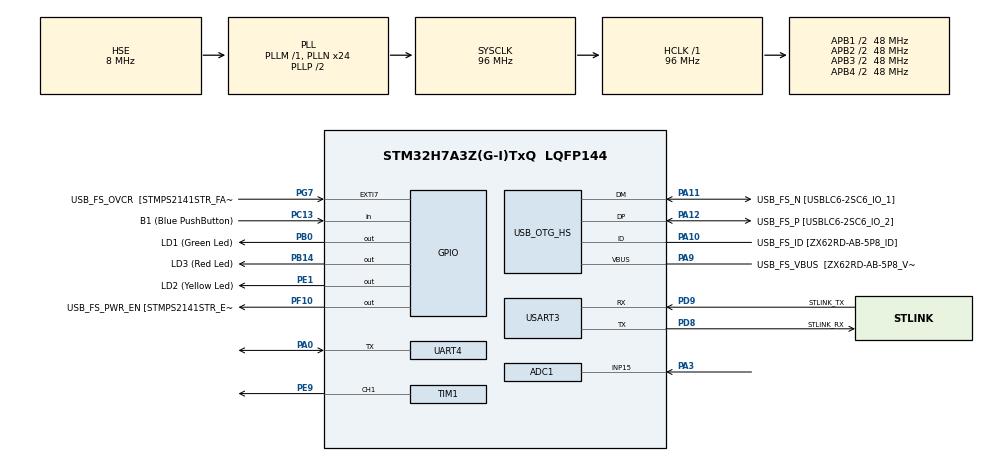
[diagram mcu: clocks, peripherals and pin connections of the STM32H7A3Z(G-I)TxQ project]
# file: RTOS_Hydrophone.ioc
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ADC1.Channel-3\#ChannelRegularConversion=ADC_CHANNEL_15
ADC1.ConversionDataManagement=ADC_CONVERSIONDATA_DMA_ONESHOT
ADC1.ExternalTrigConv=ADC_EXTERNALTRIG_T1_TRGO
ADC1.ExternalTrigConvEdge=ADC_EXTERNALTRIGCONVEDGE_RISINGFALLING
ADC1.NbrOfConversionFlag=1
ADC1.OffsetNumber-3\#ChannelRegularConversion=ADC_OFFSET_NONE
ADC1.OffsetSignedSaturation-3\#ChannelRegularConversion=DISABLE
ADC1.Rank-3\#ChannelRegularConversion=1
ADC1.SamplingTime-3\#ChannelRegularConversion=ADC_SAMPLETIME_1CYCLE_5
ADC1.master=1
Dma.ADC1.0.Direction=DMA_PERIPH_TO_MEMORY
Dma.ADC1.0.EventEnable=DISABLE
Dma.ADC1.0.FIFOMode=DMA_FIFOMODE_DISABLE
Dma.ADC1.0.Instance=DMA1_Stream0
Dma.ADC1.0.MemDataAlignment=DMA_MDATAALIGN_WORD
Dma.ADC1.0.MemInc=DMA_MINC_ENABLE
Dma.ADC1.0.Mode=DMA_NORMAL
Dma.ADC1.0.PeriphDataAlignment=DMA_PDATAALIGN_WORD
Dma.ADC1.0.PeriphInc=DMA_PINC_DISABLE
Dma.ADC1.0.Polarity=HAL_DMAMUX_REQ_GEN_RISING
Dma.ADC1.0.Priority=DMA_PRIORITY_LOW
Dma.ADC1.0.RequestNumber=1
Dma.ADC1.0.SignalID=NONE
Dma.ADC1.0.SyncEnable=DISABLE
Dma.ADC1.0.SyncPolarity=HAL_DMAMUX_SYNC_NO_EVENT
Dma.ADC1.0.SyncRequestNumber=1
Dma.ADC1.0.SyncSignalID=NONE
Dma.Request0=ADC1
FREERTOS.BinarySemaphores01=AudioCapSem01,Dynamic,NULL;FFTSem02,Dynamic,NULL;SendDataSem03,Dynamic,NULL;ADC_Buffer0Sem04,Dynamic,NULL;ADC_Buffer1Sem05,Dynamic,NULL
FREERTOS.Tasks01=defaultTask,8,128,StartDefaultTask,Default,NULL,Dynamic,NULL,NULL;AudioCapTask,24,128,StartAudioCapTask,Default,NULL,Dynamic,NULL,NULL;FFTTask,40,128,StartFFTTask,Default,NULL,Dynamic,NULL,NULL;SendDataTask,41,256,StartSendDataTask,Default,NULL,Dynamic,NULL,NULL
Mcu.Family=STM32H7
Mcu.Name=STM32H7A3Z(G-I)TxQ
Mcu.Package=LQFP144
NVIC.DMA1_Stream0_IRQn=true\:5\:0\:false\:false\:true\:true\:false\:true\:true
NVIC.PriorityGroup=NVIC_PRIORITYGROUP_4
NVIC.TIM2_IRQn=true\:15\:0\:false\:false\:true\:false\:false\:true\:true
NVIC.TimeBase=TIM2_IRQn
NVIC.TimeBaseIP=TIM2
PA0.Mode=Half_duplex(single_wire_mode)
PA0.Signal=UART4_TX
PA10.GPIO_Label=USB_FS_ID [ZX62RD-AB-5P8_ID]
PA10.Mode=OTG/Dual-Role-Device-FS
PA10.Signal=USB_OTG_HS_ID
PA11.GPIO_Label=USB_FS_N [USBLC6-2SC6_IO_1]
PA11.Mode=OTG/Dual-Role-Device-FS
PA11.Signal=USB_OTG_HS_DM
PA12.GPIO_Label=USB_FS_P [USBLC6-2SC6_IO_2]
PA12.Mode=OTG/Dual-Role-Device-FS
PA12.Signal=USB_OTG_HS_DP
PA3.Mode=IN15-Single-Ended
PA3.Signal=ADC1_INP15
PA9.GPIO_Label=USB_FS_VBUS  [ZX62RD-AB-5P8_VBUS]
PA9.Mode=Activate_VBUS_FS
PA9.Signal=USB_OTG_HS_VBUS
PB0.GPIO_Label=LD1 (Green Led)
PB0.Signal=GPIO_Output
PB14.GPIO_Label=LD3 (Red Led)
PB14.Signal=GPIO_Output
PC13.GPIO_Label=B1 (Blue PushButton)
PC13.Signal=GPIO_Input
PC14-OSC32_IN.GPIO_Label=OSC32_IN
PC14-OSC32_IN.Mode=LSE-External-Oscillator
PC14-OSC32_IN.Signal=RCC_OSC32_IN
PC15-OSC32_OUT.GPIO_Label=OSC32_OUT
PC15-OSC32_OUT.Mode=LSE-External-Oscillator
PC15-OSC32_OUT.Signal=RCC_OSC32_OUT
PD8.GPIO_Label=STLINK_RX
PD8.Mode=Asynchronous
PD8.Signal=USART3_TX
PD9.GPIO_Label=STLINK_TX
PD9.Mode=Asynchronous
PD9.Signal=USART3_RX
PE1.GPIO_Label=LD2 (Yellow Led)
PE1.Signal=GPIO_Output
PE9.Signal=S_TIM1_CH1
PF10.GPIO_Label=USB_FS_PWR_EN [STMPS2141STR_EN]
PF10.Signal=GPIO_Output
PG7.GPIO_Label=USB_FS_OVCR  [STMPS2141STR_FAULT]
PG7.Signal=GPXTI7
PH0-OSC_IN.GPIO_Label=PH0-MCU
PH0-OSC_IN.Mode=HSE-External-Clock-Source
PH0-OSC_IN.Signal=RCC_OSC_IN
PH1-OSC_OUT.GPIO_Label=PH1-MCU
PH1-OSC_OUT.Signal=RCC_OSC_OUT
ProjectManager.HeapSize=0x200
ProjectManager.StackSize=0x400
ProjectManager.TargetToolchain=STM32CubeIDE
RCC.ADCFreq_Value=42666666.666666664
RCC.APB1Freq_Value=48000000
RCC.APB2Freq_Value=48000000
RCC.APB3Freq_Value=48000000
RCC.APB4Freq_Value=48000000
RCC.CDPPRE=RCC_APB3_DIV2
RCC.CDPPRE1=RCC_APB1_DIV2
RCC.CDPPRE2=RCC_APB2_DIV2
RCC.CortexFreq_Value=96000000
RCC.DIVM1=1
RCC.DIVM2=1
RCC.DIVM3=1
RCC.DIVN1=24
RCC.DIVN2=16
RCC.DIVN3=24
RCC.DIVP2=3
RCC.DIVQ1=4
RCC.HCLKFreq_Value=96000000
RCC.HSE_VALUE=8000000
RCC.PLL2FRACN=0
RCC.PLLFRACN=0
RCC.PLLSourceVirtual=RCC_PLLSOURCE_HSE
RCC.PWR_Regulator_Voltage_Scale=PWR_REGULATOR_VOLTAGE_SCALE0
RCC.SRDPPRE=RCC_APB4_DIV2
RCC.SYSCLKFreq_VALUE=96000000
RCC.SYSCLKSource=RCC_SYSCLKSOURCE_PLLCLK
RCC.SupplySource=PWR_DIRECT_SMPS_SUPPLY
RCC.USBCLockSelection=RCC_USBCLKSOURCE_HSI48
RCC.USBFreq_Value=48000000
SH.S_TIM1_CH1.0=TIM1_CH1,Output Compare1 CH1
TIM1.Channel-Output\ Compare1\ CH1=TIM_CHANNEL_1
TIM1.OCMode_1=TIM_OCMODE_TOGGLE
TIM1.Period=6000-1
TIM1.TIM_MasterOutputTrigger=TIM_TRGO_UPDATE
UART4.BaudRate=430000
USART3.VirtualMode-Asynchronous=VM_ASYNC
VP_FREERTOS_VS_CMSIS_V2.Mode=CMSIS_V2
VP_SYS_VS_tim2.Mode=TIM2
VP_TIM1_VS_ClockSourceINT.Mode=Internal
board=NUCLEO-H7A3ZI-Q

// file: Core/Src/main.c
/* USER CODE BEGIN Header */
/**
  ******************************************************************************
  * @file           : main.c
  * @brief          : Main program body
  ******************************************************************************
  * @attention
  *
  * Copyright (c) 2023 STMicroelectronics.
  * All rights reserved.
  *
  * This software is licensed under terms that can be found in the LICENSE file
  * in the root directory of this software component.
  * If no LICENSE file comes with this software, it is provided AS-IS.
  *
  ******************************************************************************
  */
/* USER CODE END Header */
#include "main.h"
#include "cmsis_os.h"

/* USER CODE BEGIN Includes */
#include <string.h>
#include <stdio.h>
#include <stdbool.h>
#include "arm_math.h"
#include "arm_const_structs.h"
#include "semphr.h"
/* USER CODE END Includes */

/* USER CODE BEGIN PD */

//#define SEND_BUFFER_SIZE 245760/8//
// FFT defines
#define REAL_FFT_SIZE 4096
#define FFT_SIZE (REAL_FFT_SIZE/2)

// Low-pass filter parameters
#define SAMPLE_RATE 8000 // Sample rate in Hz
#define CUTOFF_FREQ 8000  // Cutoff frequency in Hz

// ADC Defines
#define ADC_BUFFER_SIZE 4096

//Transmit Defines
#define TRANSMIT_BUFFER_SIZE ADC_BUFFER_SIZE
#define ESCAPE_CHAR 0xFFFF
#define START_CHAR 0xFFEE
#define END_CHAR 0xFFFE

/* USER CODE END PD */

ADC_HandleTypeDef hadc1;
DMA_HandleTypeDef hdma_adc1;

TIM_HandleTypeDef htim1;

UART_HandleTypeDef huart4;
UART_HandleTypeDef huart3;

/* Definitions for defaultTask */
osThreadId_t defaultTaskHandle;
const osThreadAttr_t defaultTask_attributes = {
  .name = "defaultTask",
  .stack_size = 128 * 4,
  .priority = (osPriority_t) osPriorityLow,
};
/* Definitions for AudioCapTask */
osThreadId_t AudioCapTaskHandle;
const osThreadAttr_t AudioCapTask_attributes = {
  .name = "AudioCapTask",
  .stack_size = 128 * 4,
  .priority = (osPriority_t) osPriorityNormal,
};
/* Definitions for FFTTask */
osThreadId_t FFTTaskHandle;
const osThreadAttr_t FFTTask_attributes = {
  .name = "FFTTask",
  .stack_size = 128 * 4,
  .priority = (osPriority_t) osPriorityHigh,
};
/* Definitions for SendDataTask */
osThreadId_t SendDataTaskHandle;
const osThreadAttr_t SendDataTask_attributes = {
  .name = "SendDataTask",
  .stack_size = 256 * 4,
  .priority = (osPriority_t) osPriorityHigh1,
};
/* Definitions for AudioCapSem01 */
osSemaphoreId_t AudioCapSem01Handle;
const osSemaphoreAttr_t AudioCapSem01_attributes = {
  .name = "AudioCapSem01"
};
/* Definitions for FFTSem02 */
osSemaphoreId_t FFTSem02Handle;
const osSemaphoreAttr_t FFTSem02_attributes = {
  .name = "FFTSem02"
};
/* Definitions for SendDataSem03 */
osSemaphoreId_t SendDataSem03Handle;
const osSemaphoreAttr_t SendDataSem03_attributes = {
  .name = "SendDataSem03"
};
/* Definitions for ADC_Buffer0Sem04 */
osSemaphoreId_t ADC_Buffer0Sem04Handle;
const osSemaphoreAttr_t ADC_Buffer0Sem04_attributes = {
  .name = "ADC_Buffer0Sem04"
};
/* Definitions for ADC_Buffer1Sem05 */
osSemaphoreId_t ADC_Buffer1Sem05Handle;
const osSemaphoreAttr_t ADC_Buffer1Sem05_attributes = {
  .name = "ADC_Buffer1Sem05"
};
/* USER CODE BEGIN PV */

// Variables for ADC Conversion
uint32_t adc_buffer[ADC_BUFFER_SIZE];
float32_t adc_buffer_float[ADC_BUFFER_SIZE];
uint32_t adc_buffer_0[ADC_BUFFER_SIZE];
uint32_t adc_buffer_1[ADC_BUFFER_SIZE];
bool recording_mode = false;
bool flag_value, transfer_complete;

// Variables for FFT
//uint32_t fft_real_length = 4096;			      // Value for FFT initialization
float32_t fft_buffer[REAL_FFT_SIZE];          //fft_buffer be twice as large to account for complex values per sample
float32_t bin[FFT_SIZE];				              // Array of bin values
uint32_t bin_int[FFT_SIZE];				            // Array of bin integer values
int bin_point = 0;						                // Used to point to element in array
int offset = 165; 						                //variable noisefloor offset
uint32_t expected_bin = 511, testIndex = 0;		// Expected Bin value of frequency Input and index comparator
float32_t maxValue;						                // Maximum Magnitude found in bin array
uint32_t maxIndex = 0;					              // Index location of maximum magnitude
uint32_t ifftFlag = 0;					              // 0 for FFT, 1 for inverse FFT
uint32_t doBitReverse = 1;				            // Bit reversal parameter
bool frequency_detected = false;

// Variables for sending data
int counter = 0; // Counter for counting how many times we send 1.875 seconds worth of data

//local global buffer for copy of every other sample from the ADC
volatile int32_t adc_buffer_copy[ADC_BUFFER_SIZE];

// create global buffer to hold transmit data
volatile uint8_t transmit_buffer[TRANSMIT_BUFFER_SIZE];

/* USER CODE END PV */

void SystemClock_Config(void);
static void MX_GPIO_Init(void);
static void MX_DMA_Init(void);
static void MX_USB_OTG_HS_USB_Init(void);
static void MX_ADC1_Init(void);
static void MX_USART3_UART_Init(void);
static void MX_TIM1_Init(void);
static void MX_UART4_Init(void);
void StartDefaultTask(void *argument);
void StartAudioCapTask(void *argument);
void StartFFTTask(void *argument);
void StartSendDataTask(void *argument);

/* USER CODE BEGIN PFP */

bool FrequencyDetected(float32_t data[REAL_FFT_SIZE]);
float32_t Magnitude(float32_t real, float32_t compl);
void low_pass_filter(float32_t* input, float32_t* output, uint32_t num_samples);

/* USER CODE END PFP */

/* USER CODE BEGIN 0 */
arm_rfft_fast_instance_f32 fft_handler;
/* USER CODE END 0 */

int main(void)
{

  /* MCU Configuration--------------------------------------------------------*/

  /* Reset of all peripherals, Initializes the Flash interface and the Systick. */
  HAL_Init();

  /* Configure the system clock */
  SystemClock_Config();

  /* Initialize all configured peripherals */
  MX_GPIO_Init();
  MX_DMA_Init();
  MX_USB_OTG_HS_USB_Init();
  MX_ADC1_Init();
  MX_USART3_UART_Init();
  MX_TIM1_Init();
  MX_UART4_Init();
  /* USER CODE BEGIN 2 */

  HAL_TIM_Base_Start(&htim1);
  HAL_TIM_OC_Start(&htim1, TIM_CHANNEL_1);

  //float32_t maxValue;

  // Initialize RFFT
  arm_rfft_fast_init_f32(&fft_handler, REAL_FFT_SIZE);

  /* USER CODE END 2 */

  /* Init scheduler */
  osKernelInitialize();

  /* Create the semaphores(s) */
  /* creation of AudioCapSem01 */
  AudioCapSem01Handle = osSemaphoreNew(1, 1, &AudioCapSem01_attributes);

  /* creation of FFTSem02 */
  FFTSem02Handle = osSemaphoreNew(1, 1, &FFTSem02_attributes);

  /* creation of SendDataSem03 */
  SendDataSem03Handle = osSemaphoreNew(1, 1, &SendDataSem03_attributes);

  /* creation of ADC_Buffer0Sem04 */
  ADC_Buffer0Sem04Handle = osSemaphoreNew(1, 1, &ADC_Buffer0Sem04_attributes);

  /* creation of ADC_Buffer1Sem05 */
  ADC_Buffer1Sem05Handle = osSemaphoreNew(1, 1, &ADC_Buffer1Sem05_attributes);

  /* USER CODE BEGIN RTOS_SEMAPHORES */

  // Initialize Sem values other than AudioCap to 0 before starting code
  osSemaphoreAcquire(FFTSem02Handle, osWaitForever);
  osSemaphoreAcquire(SendDataSem03Handle, osWaitForever);

  /* add semaphores, ... */
  /* USER CODE END RTOS_SEMAPHORES */

  /* Create the thread(s) */
  /* creation of defaultTask */
  defaultTaskHandle = osThreadNew(StartDefaultTask, NULL, &defaultTask_attributes);

  /* creation of AudioCapTask */
  AudioCapTaskHandle = osThreadNew(StartAudioCapTask, NULL, &AudioCapTask_attributes);

  /* creation of FFTTask */
  FFTTaskHandle = osThreadNew(StartFFTTask, NULL, &FFTTask_attributes);

  /* creation of SendDataTask */
  SendDataTaskHandle = osThreadNew(StartSendDataTask, NULL, &SendDataTask_attributes);

  /* Start scheduler */
  osKernelStart();
  /* We should never get here as control is now taken by the scheduler */
  /* Infinite loop */
  while (1)
  {

  }
}

void SystemClock_Config(void)
{
  RCC_OscInitTypeDef RCC_OscInitStruct = {0};
  RCC_ClkInitTypeDef RCC_ClkInitStruct = {0};

  /*AXI clock gating */
  RCC->CKGAENR = 0xFFFFFFFF;

  /** Supply configuration update enable
  */
  HAL_PWREx_ConfigSupply(PWR_DIRECT_SMPS_SUPPLY);

  /** Configure the main internal regulator output voltage
  */
  __HAL_PWR_VOLTAGESCALING_CONFIG(PWR_REGULATOR_VOLTAGE_SCALE0);

  while(!__HAL_PWR_GET_FLAG(PWR_FLAG_VOSRDY)) {}

  /** Initializes the RCC Oscillators according to the specified parameters
  * in the RCC_OscInitTypeDef structure.
  */
  RCC_OscInitStruct.OscillatorType = RCC_OSCILLATORTYPE_HSI48|RCC_OSCILLATORTYPE_HSE;
  RCC_OscInitStruct.HSEState = RCC_HSE_BYPASS;
  RCC_OscInitStruct.HSI48State = RCC_HSI48_ON;
  RCC_OscInitStruct.PLL.PLLState = RCC_PLL_ON;
  RCC_OscInitStruct.PLL.PLLSource = RCC_PLLSOURCE_HSE;
  RCC_OscInitStruct.PLL.PLLM = 1;
  RCC_OscInitStruct.PLL.PLLN = 24;
  RCC_OscInitStruct.PLL.PLLP = 2;
  RCC_OscInitStruct.PLL.PLLQ = 4;
  RCC_OscInitStruct.PLL.PLLR = 2;
  RCC_OscInitStruct.PLL.PLLRGE = RCC_PLL1VCIRANGE_3;
  RCC_OscInitStruct.PLL.PLLVCOSEL = RCC_PLL1VCOWIDE;
  RCC_OscInitStruct.PLL.PLLFRACN = 0;
  if (HAL_RCC_OscConfig(&RCC_OscInitStruct) != HAL_OK)
  {
    Error_Handler();
  }

  /** Initializes the CPU, AHB and APB buses clocks
  */
  RCC_ClkInitStruct.ClockType = RCC_CLOCKTYPE_HCLK|RCC_CLOCKTYPE_SYSCLK
                              |RCC_CLOCKTYPE_PCLK1|RCC_CLOCKTYPE_PCLK2
                              |RCC_CLOCKTYPE_D3PCLK1|RCC_CLOCKTYPE_D1PCLK1;
  RCC_ClkInitStruct.SYSCLKSource = RCC_SYSCLKSOURCE_PLLCLK;
  RCC_ClkInitStruct.SYSCLKDivider = RCC_SYSCLK_DIV1;
  RCC_ClkInitStruct.AHBCLKDivider = RCC_HCLK_DIV1;
  RCC_ClkInitStruct.APB3CLKDivider = RCC_APB3_DIV2;
  RCC_ClkInitStruct.APB1CLKDivider = RCC_APB1_DIV2;
  RCC_ClkInitStruct.APB2CLKDivider = RCC_APB2_DIV2;
  RCC_ClkInitStruct.APB4CLKDivider = RCC_APB4_DIV2;

  if (HAL_RCC_ClockConfig(&RCC_ClkInitStruct, FLASH_LATENCY_2) != HAL_OK)
  {
    Error_Handler();
  }
}

static void MX_ADC1_Init(void)
{

  ADC_MultiModeTypeDef multimode = {0};
  ADC_ChannelConfTypeDef sConfig = {0};

  /** Common config
  */
  hadc1.Instance = ADC1;
  hadc1.Init.ClockPrescaler = ADC_CLOCK_ASYNC_DIV1;
  hadc1.Init.Resolution = ADC_RESOLUTION_16B;
  hadc1.Init.ScanConvMode = ADC_SCAN_DISABLE;
  hadc1.Init.EOCSelection = ADC_EOC_SINGLE_CONV;
  hadc1.Init.LowPowerAutoWait = DISABLE;
  hadc1.Init.ContinuousConvMode = DISABLE;
  hadc1.Init.NbrOfConversion = 1;
  hadc1.Init.DiscontinuousConvMode = DISABLE;
  hadc1.Init.ExternalTrigConv = ADC_EXTERNALTRIG_T1_TRGO;
  hadc1.Init.ExternalTrigConvEdge = ADC_EXTERNALTRIGCONVEDGE_RISINGFALLING;
  hadc1.Init.ConversionDataManagement = ADC_CONVERSIONDATA_DMA_ONESHOT;
  hadc1.Init.Overrun = ADC_OVR_DATA_PRESERVED;
  hadc1.Init.LeftBitShift = ADC_LEFTBITSHIFT_NONE;
  hadc1.Init.OversamplingMode = DISABLE;
  if (HAL_ADC_Init(&hadc1) != HAL_OK)
  {
    Error_Handler();
  }

  /** Configure the ADC multi-mode
  */
  multimode.Mode = ADC_MODE_INDEPENDENT;
  if (HAL_ADCEx_MultiModeConfigChannel(&hadc1, &multimode) != HAL_OK)
  {
    Error_Handler();
  }

  /** Configure Regular Channel
  */
  sConfig.Channel = ADC_CHANNEL_15;
  sConfig.Rank = ADC_REGULAR_RANK_1;
  sConfig.SamplingTime = ADC_SAMPLETIME_1CYCLE_5;
  sConfig.SingleDiff = ADC_SINGLE_ENDED;
  sConfig.OffsetNumber = ADC_OFFSET_NONE;
  sConfig.Offset = 0;
  sConfig.OffsetSignedSaturation = DISABLE;
  if (HAL_ADC_ConfigChannel(&hadc1, &sConfig) != HAL_OK)
  {
    Error_Handler();
  }

}

static void MX_TIM1_Init(void)
{

  TIM_ClockConfigTypeDef sClockSourceConfig = {0};
  TIM_MasterConfigTypeDef sMasterConfig = {0};
  TIM_OC_InitTypeDef sConfigOC = {0};
  TIM_BreakDeadTimeConfigTypeDef sBreakDeadTimeConfig = {0};

  htim1.Instance = TIM1;
  htim1.Init.Prescaler = 0;
  htim1.Init.CounterMode = TIM_COUNTERMODE_UP;
  htim1.Init.Period = 6000-1;
  htim1.Init.ClockDivision = TIM_CLOCKDIVISION_DIV1;
  htim1.Init.RepetitionCounter = 0;
  htim1.Init.AutoReloadPreload = TIM_AUTORELOAD_PRELOAD_DISABLE;
  if (HAL_TIM_Base_Init(&htim1) != HAL_OK)
  {
    Error_Handler();
  }
  sClockSourceConfig.ClockSource = TIM_CLOCKSOURCE_INTERNAL;
  if (HAL_TIM_ConfigClockSource(&htim1, &sClockSourceConfig) != HAL_OK)
  {
    Error_Handler();
  }
  if (HAL_TIM_OC_Init(&htim1) != HAL_OK)
  {
    Error_Handler();
  }
  sMasterConfig.MasterOutputTrigger = TIM_TRGO_UPDATE;
  sMasterConfig.MasterOutputTrigger2 = TIM_TRGO2_RESET;
  sMasterConfig.MasterSlaveMode = TIM_MASTERSLAVEMODE_DISABLE;
  if (HAL_TIMEx_MasterConfigSynchronization(&htim1, &sMasterConfig) != HAL_OK)
  {
    Error_Handler();
  }
  sConfigOC.OCMode = TIM_OCMODE_TOGGLE;
  sConfigOC.Pulse = 0;
  sConfigOC.OCPolarity = TIM_OCPOLARITY_HIGH;
  sConfigOC.OCNPolarity = TIM_OCNPOLARITY_HIGH;
  sConfigOC.OCFastMode = TIM_OCFAST_DISABLE;
  sConfigOC.OCIdleState = TIM_OCIDLESTATE_RESET;
  sConfigOC.OCNIdleState = TIM_OCNIDLESTATE_RESET;
  if (HAL_TIM_OC_ConfigChannel(&htim1, &sConfigOC, TIM_CHANNEL_1) != HAL_OK)
  {
    Error_Handler();
  }
  sBreakDeadTimeConfig.OffStateRunMode = TIM_OSSR_DISABLE;
  sBreakDeadTimeConfig.OffStateIDLEMode = TIM_OSSI_DISABLE;
  sBreakDeadTimeConfig.LockLevel = TIM_LOCKLEVEL_OFF;
  sBreakDeadTimeConfig.DeadTime = 0;
  sBreakDeadTimeConfig.BreakState = TIM_BREAK_DISABLE;
  sBreakDeadTimeConfig.BreakPolarity = TIM_BREAKPOLARITY_HIGH;
  sBreakDeadTimeConfig.BreakFilter = 0;
  sBreakDeadTimeConfig.Break2State = TIM_BREAK2_DISABLE;
  sBreakDeadTimeConfig.Break2Polarity = TIM_BREAK2POLARITY_HIGH;
  sBreakDeadTimeConfig.Break2Filter = 0;
  sBreakDeadTimeConfig.AutomaticOutput = TIM_AUTOMATICOUTPUT_DISABLE;
  if (HAL_TIMEx_ConfigBreakDeadTime(&htim1, &sBreakDeadTimeConfig) != HAL_OK)
  {
    Error_Handler();
  }
  HAL_TIM_MspPostInit(&htim1);

}

static void MX_UART4_Init(void)
{

  huart4.Instance = UART4;
  huart4.Init.BaudRate = 430000;
  huart4.Init.WordLength = UART_WORDLENGTH_8B;
  huart4.Init.StopBits = UART_STOPBITS_1;
  huart4.Init.Parity = UART_PARITY_NONE;
  huart4.Init.Mode = UART_MODE_TX_RX;
  huart4.Init.HwFlowCtl = UART_HWCONTROL_NONE;
  huart4.Init.OverSampling = UART_OVERSAMPLING_16;
  huart4.Init.OneBitSampling = UART_ONE_BIT_SAMPLE_DISABLE;
  huart4.Init.ClockPrescaler = UART_PRESCALER_DIV1;
  huart4.AdvancedInit.AdvFeatureInit = UART_ADVFEATURE_NO_INIT;
  if (HAL_HalfDuplex_Init(&huart4) != HAL_OK)
  {
    Error_Handler();
  }
  if (HAL_UARTEx_SetTxFifoThreshold(&huart4, UART_TXFIFO_THRESHOLD_1_8) != HAL_OK)
  {
    Error_Handler();
  }
  if (HAL_UARTEx_SetRxFifoThreshold(&huart4, UART_RXFIFO_THRESHOLD_1_8) != HAL_OK)
  {
    Error_Handler();
  }
  if (HAL_UARTEx_DisableFifoMode(&huart4) != HAL_OK)
  {
    Error_Handler();
  }

}

static void MX_USART3_UART_Init(void)
{

  huart3.Instance = USART3;
  huart3.Init.BaudRate = 115200;
  huart3.Init.WordLength = UART_WORDLENGTH_8B;
  huart3.Init.StopBits = UART_STOPBITS_1;
  huart3.Init.Parity = UART_PARITY_NONE;
  huart3.Init.Mode = UART_MODE_TX_RX;
  huart3.Init.HwFlowCtl = UART_HWCONTROL_NONE;
  huart3.Init.OverSampling = UART_OVERSAMPLING_16;
  huart3.Init.OneBitSampling = UART_ONE_BIT_SAMPLE_DISABLE;
  huart3.Init.ClockPrescaler = UART_PRESCALER_DIV1;
  huart3.AdvancedInit.AdvFeatureInit = UART_ADVFEATURE_NO_INIT;
  if (HAL_UART_Init(&huart3) != HAL_OK)
  {
    Error_Handler();
  }
  if (HAL_UARTEx_SetTxFifoThreshold(&huart3, UART_TXFIFO_THRESHOLD_1_8) != HAL_OK)
  {
    Error_Handler();
  }
  if (HAL_UARTEx_SetRxFifoThreshold(&huart3, UART_RXFIFO_THRESHOLD_1_8) != HAL_OK)
  {
    Error_Handler();
  }
  if (HAL_UARTEx_DisableFifoMode(&huart3) != HAL_OK)
  {
    Error_Handler();
  }

}

static void MX_USB_OTG_HS_USB_Init(void)
{

}

static void MX_DMA_Init(void)
{

  /* DMA controller clock enable */
  __HAL_RCC_DMA1_CLK_ENABLE();

  /* DMA interrupt init */
  /* DMA1_Stream0_IRQn interrupt configuration */
  HAL_NVIC_SetPriority(DMA1_Stream0_IRQn, 5, 0);
  HAL_NVIC_EnableIRQ(DMA1_Stream0_IRQn);

}

static void MX_GPIO_Init(void)
{
  GPIO_InitTypeDef GPIO_InitStruct = {0};

  /* GPIO Ports Clock Enable */
  __HAL_RCC_GPIOC_CLK_ENABLE();
  __HAL_RCC_GPIOF_CLK_ENABLE();
  __HAL_RCC_GPIOH_CLK_ENABLE();
  __HAL_RCC_GPIOA_CLK_ENABLE();
  __HAL_RCC_GPIOB_CLK_ENABLE();
  __HAL_RCC_GPIOE_CLK_ENABLE();
  __HAL_RCC_GPIOD_CLK_ENABLE();
  __HAL_RCC_GPIOG_CLK_ENABLE();

  /*Configure GPIO pin Output Level */
  HAL_GPIO_WritePin(USB_FS_PWR_EN_GPIO_Port, USB_FS_PWR_EN_Pin, GPIO_PIN_RESET);

  /*Configure GPIO pin Output Level */
  HAL_GPIO_WritePin(GPIOB, LD1_Pin|LD3_Pin, GPIO_PIN_RESET);

  /*Configure GPIO pin Output Level */
  HAL_GPIO_WritePin(LD2_GPIO_Port, LD2_Pin, GPIO_PIN_RESET);

  /*Configure GPIO pin : B1_Pin */
  GPIO_InitStruct.Pin = B1_Pin;
  GPIO_InitStruct.Mode = GPIO_MODE_INPUT;
  GPIO_InitStruct.Pull = GPIO_NOPULL;
  HAL_GPIO_Init(B1_GPIO_Port, &GPIO_InitStruct);

  /*Configure GPIO pin : USB_FS_PWR_EN_Pin */
  GPIO_InitStruct.Pin = USB_FS_PWR_EN_Pin;
  GPIO_InitStruct.Mode = GPIO_MODE_OUTPUT_PP;
  GPIO_InitStruct.Pull = GPIO_NOPULL;
  GPIO_InitStruct.Speed = GPIO_SPEED_FREQ_LOW;
  HAL_GPIO_Init(USB_FS_PWR_EN_GPIO_Port, &GPIO_InitStruct);

  /*Configure GPIO pins : LD1_Pin LD3_Pin */
  GPIO_InitStruct.Pin = LD1_Pin|LD3_Pin;
  GPIO_InitStruct.Mode = GPIO_MODE_OUTPUT_PP;
  GPIO_InitStruct.Pull = GPIO_NOPULL;
  GPIO_InitStruct.Speed = GPIO_SPEED_FREQ_LOW;
  HAL_GPIO_Init(GPIOB, &GPIO_InitStruct);

  /*Configure GPIO pin : USB_FS_OVCR_Pin */
  GPIO_InitStruct.Pin = USB_FS_OVCR_Pin;
  GPIO_InitStruct.Mode = GPIO_MODE_IT_RISING;
  GPIO_InitStruct.Pull = GPIO_NOPULL;
  HAL_GPIO_Init(USB_FS_OVCR_GPIO_Port, &GPIO_InitStruct);

  /*Configure GPIO pin : USB_FS_VBUS_Pin */
  GPIO_InitStruct.Pin = USB_FS_VBUS_Pin;
  GPIO_InitStruct.Mode = GPIO_MODE_INPUT;
  GPIO_InitStruct.Pull = GPIO_NOPULL;
  HAL_GPIO_Init(USB_FS_VBUS_GPIO_Port, &GPIO_InitStruct);

  /*Configure GPIO pin : USB_FS_ID_Pin */
  GPIO_InitStruct.Pin = USB_FS_ID_Pin;
  GPIO_InitStruct.Mode = GPIO_MODE_AF_PP;
  GPIO_InitStruct.Pull = GPIO_NOPULL;
  GPIO_InitStruct.Speed = GPIO_SPEED_FREQ_LOW;
  GPIO_InitStruct.Alternate = GPIO_AF10_OTG1_HS;
  HAL_GPIO_Init(USB_FS_ID_GPIO_Port, &GPIO_InitStruct);

  /*Configure GPIO pins : USB_FS_N_Pin USB_FS_P_Pin */
  GPIO_InitStruct.Pin = USB_FS_N_Pin|USB_FS_P_Pin;
  GPIO_InitStruct.Mode = GPIO_MODE_AF_PP;
  GPIO_InitStruct.Pull = GPIO_NOPULL;
  GPIO_InitStruct.Speed = GPIO_SPEED_FREQ_LOW;
  HAL_GPIO_Init(GPIOA, &GPIO_InitStruct);

  /*Configure GPIO pin : LD2_Pin */
  GPIO_InitStruct.Pin = LD2_Pin;
  GPIO_InitStruct.Mode = GPIO_MODE_OUTPUT_PP;
  GPIO_InitStruct.Pull = GPIO_NOPULL;
  GPIO_InitStruct.Speed = GPIO_SPEED_FREQ_LOW;
  HAL_GPIO_Init(LD2_GPIO_Port, &GPIO_InitStruct);

}

/* USER CODE BEGIN 4 */

/**
 * @brief Function detects frequencies between (0 - 8kHz) and returns boolean
 * @param
 * @retval boolean true or false
 */
bool FrequencyDetected(float32_t data[REAL_FFT_SIZE])
{
	// Process the data through the RFFT module. Will output elements that are Real and Imaginary
	// in fft_bufer as a single array same size as data[].
	//arm_rfft_fast_f32(&fft_handler, (float32_t *) data, fft_buffer, ifftFlag);
	arm_rfft_fast_f32(&fft_handler, adc_buffer_float, fft_buffer, ifftFlag);

	// Reset bin value and offset
	bin_point = 0;

	// Calculate magnitude for each bin using real and Imaginary numbers from fft_buffer output
	 for (int i=0; i< REAL_FFT_SIZE; i=i+2) {

		bin[bin_point] =((Magnitude(fft_buffer[i], fft_buffer[i+1])))-offset;
		// bin[bin_point has chance of rolling back if magnitude is not greater than offset (165)
		// If bin[point_point] rolls back set to 0

		/*
		if ((bin[bin_point] < 0) || (bin[bin_point] > 5000))
		{
			bin[bin_point]=0;
		}
		*/

		bin_point++;

	 }
	// Negate DC value
	bin[0] = 0;

	// Check highest magnitude in bins
	arm_max_f32(bin, FFT_SIZE, &maxValue, &maxIndex);

	// Correct index
	maxIndex += 1;

	bool threshold_crossed = false;

	// Going through bin array, checking if a magnitude crosses threshold of 40
	for(int j=1; j < (FFT_SIZE); j++){

		if(bin[j] >= 40)
		{
			threshold_crossed = true;
			break;
		}
	}

	//HAL_GPIO_WritePin(GPIOC, GPIO_PIN_8, GPIO_PIN_RESET);
	if(threshold_crossed == true)
	{
		   return true;
	}
	// if highest magnitude is at desired bin (wanted frequency) return true
	else if(threshold_crossed == false)
		{
			return false;
		}

	//add return statement
}

/**
 * @brief Returns magnitude of FFT buffer outputs
 * @param Real & Complex elements of FFT output
 * @retval Magnitude at specific frequency
 */
float32_t Magnitude(float32_t real, float32_t compl)
{

	float32_t sqrt_input = (real*real + compl*compl);
	float32_t sqrt_output = 0;
	float32_t magnitude = 0;
	float32_t log_output = 0;

	arm_sqrt_f32(sqrt_input, &sqrt_output);
	log_output = logf(sqrt_output);
	magnitude = 20* (log_output);
	return magnitude;
}
// low_pass_filter(ADC_BUFFER_0, ADC_BUFFER_0, 4096)

void low_pass_filter(float32_t* input, float32_t* output, uint32_t num_samples) {
  float32_t32_t alpha = 2 * PI * CUTOFF_FREQ / SAMPLE_RATE;
  float32_t32_t b0 = (1 - arm_cos_f32(alpha)) / 2;
  float32_t32_t b1 = 1 - arm_cos_f32(alpha);
  float32_t32_t b2 = (1 - arm_cos_f32(alpha)) / 2;
  float32_t32_t a1 = -2 * arm_cos_f32(alpha);
  float32_t32_t a2 = arm_cos_f32(alpha) - 1;

  // Initialize filter state variables
  float32_t32_t x1 = 0, x2 = 0, y1 = 0, y2 = 0;

  // Apply the filter to the input samples
  for (uint32_t i = 0; i < num_samples; i++) {
    output[i] = b0 * input[i] + b1 * x1 + b2 * x2 - a1 * y1 - a2 * y2;
    x2 = x1;
    x1 = input[i];
    y2 = y1;
    y1 = output[i];
  }
}

/**
 * @brief This function executes when adc buffer is full setting flag true
 * @param
 * @retval
 */
void HAL_ADC_ConvCpltCallback(ADC_HandleTypeDef* hadc)
{
	HAL_GPIO_TogglePin(GPIOC, GPIO_PIN_8);
	flag_value = true;			// Set buffer conversion complete flag
	//HAL_ADC_Start_DMA(&hadc1, (uint32_t *)adc_buffer, adc_buff_size);
}

/* USER CODE END 4 */

/* USER CODE BEGIN Header_StartDefaultTask */
/**
  * @brief  Function implementing the defaultTask thread. Toggling Red LED to ensure RTOS operation
  * @param  argument: Not used
  * @retval None
  */
/* USER CODE END Header_StartDefaultTask */
void StartDefaultTask(void *argument)
{
  /* USER CODE BEGIN 5 */
  /* Infinite loop */
  for(;;)
  {
	// Toggling LD3 (red) to see if it ever enters this default state
	//HAL_GPIO_TogglePin(GPIOB, GPIO_PIN_14);
    //osDelay(500); /* Insert delay of 50ms */
  }
  /* USER CODE END 5 */
}

void StartAudioCapTask(void *argument)
{
  /* USER CODE BEGIN StartAudioCapTask */

  //Fill ADC_Buffer1
  HAL_ADC_Start_DMA(&hadc1, adc_buffer_1, ADC_BUFFER_SIZE);

  //wait for it to finish
  while(flag_value != true);
  flag_value = false;

  //set initial adc buffer
  uint32_t adc_buffer_num = 0;

  /* Infinite loop */
  for(;;)
  {

	  //set record mode REMOVE, THIS IS FOR TESTING ONLY
	  //recording_mode = false;

	  //wait for fft or data sending task to complete
	  //osSemaphoreAcquire(AudioCapSem01Handle, osWaitForever);

	  /* Test Pin */
	  // HAL_GPIO_TogglePin(GPIOB, GPIO_PIN_0);
	  // osDelay(500);

	  // Start ADC using alternating buffers
    if(adc_buffer_num == 0) {

      //obtain adc_buffer_0
      osSemaphoreAcquire(ADC_Buffer0Sem04Handle, osWaitForever);

      //set buffer to fill
		  HAL_ADC_Start_DMA(&hadc1, adc_buffer_0, ADC_BUFFER_SIZE);

      //release tasks to process buffer 1
      //check for record mode
      if (recording_mode) {

        // Send the data
        osSemaphoreRelease(SendDataSem03Handle);
      }
      else  {

        // start fft task on adc buffer 1
        osSemaphoreRelease(FFTSem02Handle);
      }

      // Coming back from Send Data do we need to redo initializations?

      //wait for buffer to fill
      while(flag_value != true);
      flag_value = false;

      // Stop ADC
      HAL_ADC_Stop_DMA(&hadc1);

      //release adc_buffer_0
      osSemaphoreRelease(ADC_Buffer0Sem04Handle);

      //switch to other buffer on next loop
      adc_buffer_num = 1;

      //Wait for FFT Task to Finish
    }
    else {

      //obtain adc_buffer_1
      osSemaphoreAcquire(ADC_Buffer1Sem05Handle, osWaitForever);

      //set buffer to fill
		  HAL_ADC_Start_DMA(&hadc1, adc_buffer_1, ADC_BUFFER_SIZE);

      //release tasks to process buffer 0
      //check for record mode
      if (recording_mode) {

        // Send the data
        osSemaphoreRelease(SendDataSem03Handle);
      }
      else  {

        // start fft task on adc buffer 1
        osSemaphoreRelease(FFTSem02Handle);
      }

      // Coming back from Send Data do we need to redo initializations?

      //wait for buffer to fill
      while(flag_value != true);
      flag_value = false;

      // Stop ADC
      HAL_ADC_Stop_DMA(&hadc1);

      //release adc_buffer_1
      osSemaphoreRelease(ADC_Buffer1Sem05Handle);

      //switch to other buffer on next loop
      adc_buffer_num = 0;
    }
  }

  // In case we accidentally exit from task loop
  osThreadTerminate(NULL);
  /* USER CODE END StartAudioCapTask */
}

void StartFFTTask(void *argument)
{
  /* USER CODE BEGIN StartFFTTask */

  uint32_t count0;
  uint32_t count1;
  uint32_t none_acquired;

  /* Infinite loop */
  for(;;)
  {

    // wait for audio cap task to tell this task to start
    osSemaphoreAcquire(FFTSem02Handle, osWaitForever);
    HAL_GPIO_TogglePin(GPIOE, GPIO_PIN_1);
	  //osDelay(500);

    //check which adc buffer is available
    count0 = osSemaphoreGetCount(ADC_Buffer0Sem04Handle);
    count1 = osSemaphoreGetCount(ADC_Buffer1Sem05Handle);
    none_acquired = 0;

    //acquire whichever is available
    if(count0 == 1) {
      osSemaphoreAcquire(ADC_Buffer0Sem04Handle, osWaitForever);

      // Convert samples to float as required by FFT
		  for(int i = 0; i < REAL_FFT_SIZE; i++){
			  adc_buffer_float[i] = adc_buffer_0[i];
		  }

      //release adc buffer
      osSemaphoreRelease(ADC_Buffer0Sem04Handle);

    }
    else if (count1 == 1) {
      osSemaphoreAcquire(ADC_Buffer1Sem05Handle, osWaitForever);

      // Convert samples to float as required by FFT
      for(int i = 0; i < REAL_FFT_SIZE; i++){
			  adc_buffer_float[i] = adc_buffer_1[i];
		  }

      //release adc buffer
      osSemaphoreRelease(ADC_Buffer1Sem05Handle);

    }
    else {
      none_acquired = 1;
    }

    if (!none_acquired) {

      /* Reset frequency_detected bool */
      //frequency_detected = false; //not needed gets reasigned in frequency detected function

      /* Call FFT function that returns true if freqs between 0-8kHz are detected */
      frequency_detected = FrequencyDetected(adc_buffer_float);

      // TODO second frequency detected is redundant
      // if(frequency_detected == true){
      //   // HAL_GPIO_WritePin(GPIOB, GPIO_PIN_14, 1);
      //   // HAL_GPIO_TogglePin(GPIOB, GPIO_PIN_0);
      // }

      if(frequency_detected == true){
        recording_mode = true;
        // release semaphore for record task
      }

      //start audio cap task -- should always be running, get rid of this
      //osSemaphoreRelease(AudioCapSem01Handle);
    }
  }

  // In case we accidentally exit from task loop
  osThreadTerminate(NULL);
  /* USER CODE END StartFFTTask */
}

void StartSendDataTask(void *argument)
{
  /* USER CODE BEGIN StartSendDataTask */
  /* Infinite loop */

  // variables to check which ADC buffer to use
  uint8_t count0;
  uint8_t count1;
  uint8_t none_acquired;

  // variables
  uint8_t loop = 0;
  volatile uint8_t tx_data = 0;
  uint16_t i = 0;
  uint16_t j = 0;
  uint16_t max_transmit_index = 0;
  uint16_t amplification = 1;
  uint32_t val = 0;

  for(;;)
  {
    //wait for send data task to complete
    osSemaphoreAcquire(SendDataSem03Handle, osWaitForever);

    //check which adc buffer is available
    count0 = osSemaphoreGetCount(ADC_Buffer0Sem04Handle);
    count1 = osSemaphoreGetCount(ADC_Buffer1Sem05Handle);
    none_acquired = 0;

    //acquire whichever is available
    if(count0 == 1) {
      osSemaphoreAcquire(ADC_Buffer0Sem04Handle, osWaitForever);

      // new lowpass filter  : TO TEST
      low_pass_filter(ADC_BUFFER_0, ADC_BUFFER_0, 4096);

      //copy every other adc buffer
      for (int i = 0; i < TRANSMIT_BUFFER_SIZE; i+=2) {
        //adc_buffer_copy[i/2] = adc_buffer_0[i];
        val = adc_buffer_0[i];
        val -= 0x8000;
        val *= amplification;
        adc_buffer_copy[i/2] = val;
        //adc_buffer_copy[i/2] = (adc_buffer_copy[i/2] - 0x8000) * amplification;
      }

      //release adc buffer
      osSemaphoreRelease(ADC_Buffer0Sem04Handle);

    }
    else if (count1 == 1) {
      osSemaphoreAcquire(ADC_Buffer1Sem05Handle, osWaitForever);

      //copy every other adc buffer
      for (int i = 0; i < ADC_BUFFER_SIZE; i+=2) {
        adc_buffer_copy[i/2] = adc_buffer_1[i];
        adc_buffer_copy[i/2] = (adc_buffer_copy[i/2] - 0x8000) * amplification;
      }

      //release adc buffer
      osSemaphoreRelease(ADC_Buffer1Sem05Handle);

    }
    else {
      none_acquired = 1;
    }

    //transmit data
    if (!none_acquired) {

      //fill transmit buffer with data
      i = 0; //index of input buffer
      j = 0; //index of output buffer
      while (i < TRANSMIT_BUFFER_SIZE / 2) {

    	if (i > 2040) {
    		i++;
    		i--;
    	}

        //check if last 16 bits of data is the same as the escape char
        if (!((adc_buffer_copy[i] & 0xFFFF) ^ ESCAPE_CHAR)) {

          //add escape char twice to indicate that it is actually the data being sent
          transmit_buffer[j] = ESCAPE_CHAR >> 8;
          j++;
          transmit_buffer[j] = ESCAPE_CHAR & 0x00FF;
          j++;

          transmit_buffer[j] = ESCAPE_CHAR >> 8;
          j++;
          transmit_buffer[j] = ESCAPE_CHAR & 0x00FF;
          j++;

          //processed 1 sample
          i++;
        }
        else {

          //say sample = 0x1234;

          //add data to buffer
          transmit_buffer[j] = adc_buffer_copy[i] >> 8; // high byte (0x12)
          j++;
          transmit_buffer[j] = adc_buffer_copy[i] & 0x00FF; // low byte (0x34)
          j++;

          //processed 1 sample
          i++;
        }
      }
      max_transmit_index = j;

      // First set of data
      if(loop == 0){

        //send escape character
        tx_data = 0xFF;
        HAL_UART_Transmit(&huart4, (uint8_t *)&tx_data, 1, HAL_MAX_DELAY);
        tx_data = 0xFF;
        HAL_UART_Transmit(&huart4, (uint8_t *)&tx_data, 1, HAL_MAX_DELAY);

        //send start char
        tx_data = 0xFF;
        HAL_UART_Transmit(&huart4, (uint8_t *)&tx_data, 1, HAL_MAX_DELAY);
        tx_data = 0xEE;
        HAL_UART_Transmit(&huart4, (uint8_t *)&tx_data, 1, HAL_MAX_DELAY);
      }

      // Data in between
      // TODO - For loop for number of samples of transmit_buffer
      for(int k = 0; k < max_transmit_index; k++){

        tx_data = transmit_buffer[k];
        HAL_UART_Transmit(&huart4, (uint8_t *)&tx_data, 1, HAL_MAX_DELAY);

        if (k > max_transmit_index - 2) {
        	k++;
        	k--;
        }
      }

      loop++;

      // Last set of data
      if(loop >= 58){

        //send escape char
        tx_data = 0xFF;
        HAL_UART_Transmit(&huart4, (uint8_t *)&tx_data, 1, HAL_MAX_DELAY);
        tx_data = 0xFF;
        HAL_UART_Transmit(&huart4, (uint8_t *)&tx_data, 1, HAL_MAX_DELAY);

        //send end char
        tx_data = 0xFF;
        HAL_UART_Transmit(&huart4, (uint8_t *)&tx_data, 1, HAL_MAX_DELAY);
        tx_data = 0xFE;
        HAL_UART_Transmit(&huart4, (uint8_t *)&tx_data, 1, HAL_MAX_DELAY);

        //restart record mode
        loop = 0;
        recording_mode = false;
      }
    }
  }
  /* USER CODE END StartSendDataTask */
}

void HAL_TIM_PeriodElapsedCallback(TIM_HandleTypeDef *htim)
{
  if (htim->Instance == TIM2) {
    HAL_IncTick();
  }
}

void Error_Handler(void)
{
  __disable_irq();
  while (1)
  {
  }
}
